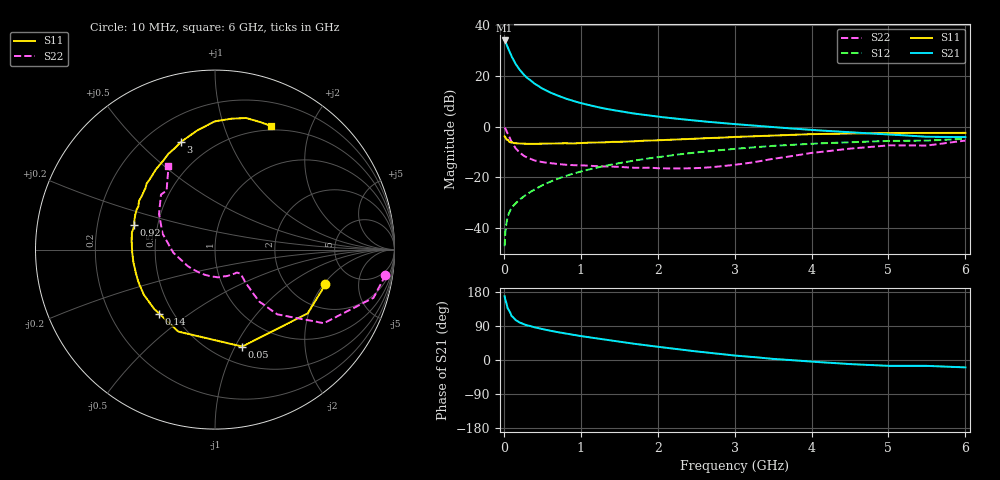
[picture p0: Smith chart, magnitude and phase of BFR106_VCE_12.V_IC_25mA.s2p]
! Infineon Technologies  Discrete & RF Semiconductors
! BFR106
! VCE =  12. V,  IC =  25 mA
! Common Emitter S-Parameters:  Nov 2015
# GHz  S  MA  R  50
!  f  S11  S21  S12  S22
! GHz  MAG  ANG  MAG  ANG  MAG  ANG  MAG  ANG
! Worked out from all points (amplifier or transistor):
!   210 points, 10 MHz to 6 GHz, reference 50 ohm
!   highest |S21| = 34.0 dB at 10 MHz (marker M1)
!   |S21| within 3 dB of that: start of sweep to 55.75 MHz
!   unconditionally stable (mu >= 1): 369.9 MHz to 2.155 GHz
!   at 185 MHz: K = 0.78, MSG = 26.4 dB, |S12| = -29.3 dB
!   at 1.52 GHz: K = 1.06, MAG = 8.7 dB, |S12| = -14.3 dB
!   at 6 GHz: K = 0.98, MSG = 0.3 dB, |S12| = -4.8 dB
!   S11 on the Smith chart (normalised r, x): 10 MHz: 3.14, -2.09; 50 MHz: 0.68, -1.07; 140 MHz: 0.42, -0.39; 920 MHz: 0.37, +0.13; 3 GHz: 0.34, +0.67; 6 GHz: 0.45, +1.45
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0.01  0.6452 -17.5  50.38 168.2  0.0044 82.7  0.9604 -8.5
0.02  0.6269 -34.5  48.06 158.8  0.0084 74.7  0.9233 -16.9
0.05  0.5612 -74.3  37.28 136.0  0.0171 62.5  0.7317 -34.1
0.1  0.5004 -114.1  24.57 116.3  0.025 55.7  0.5005 -46.1
0.14  0.4734 -131.1  18.89 108.3  0.0295 55.5  0.4032 -48.7
0.15  0.4735 -135.5  17.55 105.5  0.0306 55.5  0.379 -49.6
0.195  0.4691 -146.2  14.02 100.2  0.0352 58.1  0.3216 -48.9
0.24  0.4642 -154.5  11.54 95.8  0.04 59.8  0.2803 -48.0
0.3  0.4604 -162.4  9.268 91.5  0.0467 62.5  0.2475 -47.1
0.4  0.4601 -171.2  7.05 86.2  0.0578 65.1  0.2158 -44.8
0.5  0.4617 -178.2  5.664 81.5  0.0699 66.6  0.1997 -43.3
0.6  0.4651 176.3  4.759 77.3  0.0818 67.3  0.1915 -43.9
0.8  0.4728 168.1  3.608 69.9  0.1064 67.0  0.1775 -46.2
0.92  0.4698 163.2  3.169 65.9  0.1209 66.8  0.1742 -48.0
1.02  0.4788 159.5  2.878 62.6  0.1328 66.2  0.1729 -50.5
1.4  0.503 147.3  2.153 51.3  0.1792 63.0  0.1636 -62.5
2.02  0.5413 130.5  1.571 34.4  0.2535 55.8  0.1516 -90.4
3  0.6287 107.7  1.128 11.8  0.3662 42.9  0.1778 -149.1
3.1  0.6359 105.7  1.097 10.2  0.3763 41.3  0.185 -155.6
4.1  0.7176 88.6  0.846 -5.6  0.4692 26.4  0.3157 159.6
5.1  0.7529 75.4  0.692 -15.4  0.526 12.6  0.4284 133.5
6  0.7561 65.8  0.624 -19.5  0.5768 2.1  0.5329 119.1
